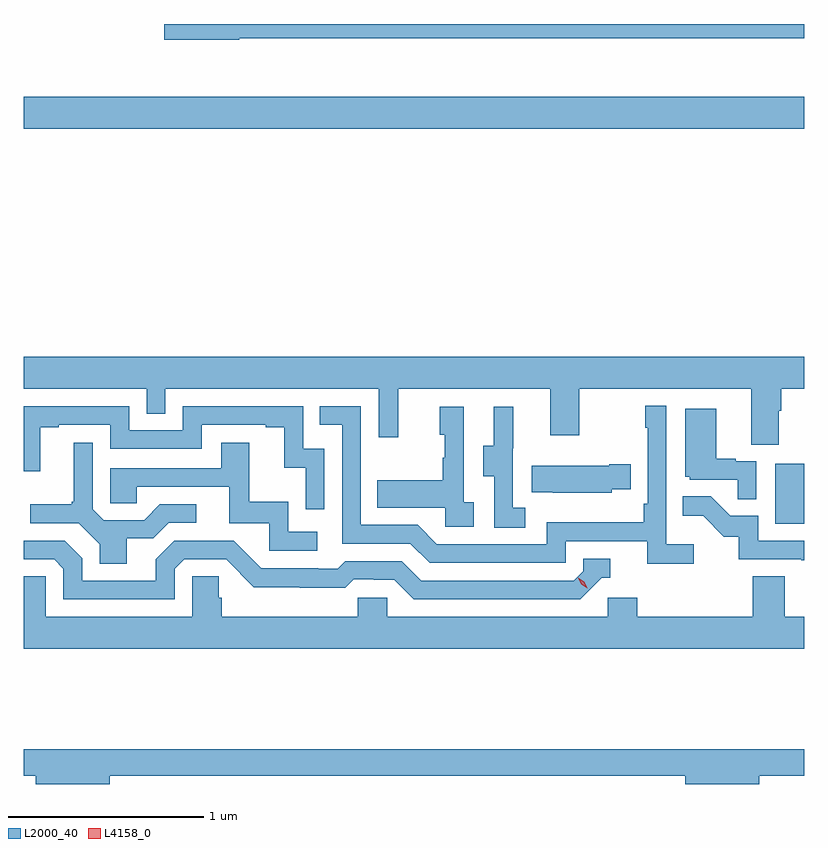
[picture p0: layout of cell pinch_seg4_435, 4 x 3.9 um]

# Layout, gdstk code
import gdstk
lib = gdstk.Library(unit=1e-6, precision=1e-09)
def R(c, l, rs):  # rectangles x0, y0, x1, y1
    for r in rs: c.add(gdstk.rectangle(r[:2], r[2:], *l))
def P(c, l, *ps):  # polygons
    for p in ps: c.add(gdstk.Polygon(p, *l))
L2000_40 = (2000, 40)
L4158_0 = (4158, 0)

pinch_seg4_435 = lib.new_cell('pinch_seg4_435')
R(pinch_seg4_435, L2000_40, [(948.8,786.804,948.947,787.111), (944.947,788.828,948.947,788.992)])
P(pinch_seg4_435, L2000_40, [(946.05,789.294),(948.947,789.294),(948.947,789.366),(945.666,789.366),(945.666,789.286),(946.05,789.286)],
  [(944.947,787.496),(945.576,787.496),(945.576,787.369),(945.672,787.369),(945.672,787.496),(946.767,787.496),(946.767,787.248),(946.865,787.248),(946.865,787.496),(947.645,787.496),(947.645,787.257),(947.793,787.257),(947.793,787.496),(948.677,787.496),(948.677,787.21),(948.817,787.21),(948.817,787.384),(948.83,787.384),(948.83,787.496),(948.947,787.496),(948.947,787.66),(944.947,787.66)],
  [(948.382,786.7),(948.24,786.7),(948.24,787.408),(948.132,787.408),(948.132,787.295),(948.144,787.295),(948.144,786.907),(948.124,786.907),(948.124,786.811),(947.628,786.811),(947.628,786.699),(947.064,786.699),(946.965,786.798),(946.674,786.798),(946.674,787.407),(946.465,787.407),(946.465,787.311),(946.578,787.311),(946.578,786.702),(946.928,786.702),(947.027,786.603),(947.724,786.603),(947.724,786.714),(948.143,786.714),(948.143,786.598),(948.382,786.598)],
  [(946.488,787.188),(946.38,787.188),(946.38,787.407),(945.762,787.407),(945.762,787.284),(945.486,787.284),(945.486,787.407),(944.947,787.407),(944.947,787.073),(945.031,787.073),(945.031,787.299),(945.127,787.299),(945.127,787.311),(945.39,787.311),(945.39,787.188),(945.858,787.188),(945.858,787.311),(946.187,787.311),(946.187,787.299),(946.283,787.299),(946.283,787.091),(946.392,787.091),(946.392,786.879),(946.488,786.879)],
  [(947.254,786.914),(947.202,786.914),(947.202,787.405),(947.078,787.405),(947.078,787.26),(947.104,787.26),(947.104,787.142),(947.094,787.142),(947.094,787.027),(946.759,787.027),(946.759,786.887),(947.106,786.887),(947.106,786.789),(947.254,786.789)],
  [(947.518,786.887),(947.454,786.887),(947.454,787.191),(947.456,787.191),(947.456,787.405),(947.357,787.405),(947.357,787.203),(947.303,787.203),(947.303,787.048),(947.358,787.048),(947.358,786.784),(947.518,786.784)],
  [(948.702,787.125),(948.596,787.125),(948.596,787.138),(948.496,787.138),(948.496,787.393),(948.338,787.393),(948.338,787.044),(948.36,787.044),(948.36,787.029),(948.607,787.029),(948.607,786.931),(948.702,786.931)],
  [(945.475,786.73),(945.61,786.73),(945.69,786.81),(945.832,786.81),(945.832,786.903),(945.644,786.903),(945.563,786.822),(945.357,786.822),(945.3,786.879),(945.3,787.219),(945.203,787.219),(945.203,786.916),(945.192,786.916),(945.192,786.904),(944.979,786.904),(944.979,786.807),(945.228,786.807),(945.335,786.7),(945.335,786.598),(945.475,786.598)],
  [(946.45,786.762),(946.302,786.762),(946.302,786.916),(946.103,786.916),(946.103,787.219),(945.959,787.219),(945.959,787.089),(945.39,787.089),(945.39,786.909),(945.527,786.909),(945.527,786.993),(946.001,786.993),(946.001,786.807),(946.206,786.807),(946.206,786.666),(946.45,786.666)],
  [(947.961,786.98),(948.059,786.98),(948.059,787.11),(947.948,787.11),(947.948,787.102),(947.551,787.102),(947.551,786.965),(947.659,786.965),(947.659,786.962),(947.961,786.962)],
  [(948.947,786.717),(948.711,786.717),(948.711,786.846),(948.567,786.846),(948.469,786.944),(948.325,786.944),(948.325,786.845),(948.429,786.845),(948.536,786.738),(948.613,786.738),(948.613,786.621),(948.931,786.621),(948.931,786.616),(948.947,786.616)],
  [(945.72,786.573),(945.768,786.621),(945.984,786.621),(946.126,786.479),(946.362,786.479),(946.362,786.477),(946.595,786.477),(946.637,786.519),(946.74,786.519),(946.74,786.516),(946.847,786.516),(946.946,786.417),(947.799,786.417),(947.91,786.528),(947.953,786.528),(947.953,786.624),(947.814,786.624),(947.814,786.561),(947.766,786.513),(946.983,786.513),(946.884,786.612),(946.595,786.612),(946.556,786.573),(946.457,786.573),(946.457,786.576),(946.164,786.576),(946.023,786.717),(945.717,786.717),(945.623,786.623),(945.623,786.513),(945.246,786.513),(945.246,786.627),(945.156,786.717),(944.947,786.717),(944.947,786.621),(945.102,786.621),(945.15,786.573),(945.15,786.417),(945.72,786.417)],
  [(948.947,786.328),(948.848,786.328),(948.848,786.536),(948.683,786.536),(948.683,786.328),(948.092,786.328),(948.092,786.426),(947.94,786.426),(947.94,786.328),(946.809,786.328),(946.809,786.426),(946.659,786.426),(946.659,786.328),(945.962,786.328),(945.962,786.426),(945.947,786.426),(945.947,786.536),(945.81,786.536),(945.81,786.328),(945.06,786.328),(945.06,786.536),(944.947,786.536),(944.947,786.164),(948.947,786.164)],
  [(945.388,785.512),(948.338,785.512),(948.338,785.47),(948.718,785.47),(948.718,785.512),(948.947,785.512),(948.947,785.648),(944.947,785.648),(944.947,785.512),(945.008,785.512),(945.008,785.47),(945.388,785.47)])
P(pinch_seg4_435, L4158_0, [(947.836,786.474),(947.805,786.494),(947.79,786.526),(947.79,786.527),(947.79,786.527),(947.82,786.507),(947.836,786.474),(947.836,786.474)])

lib.write_gds('pinch_seg4_435.gds')
